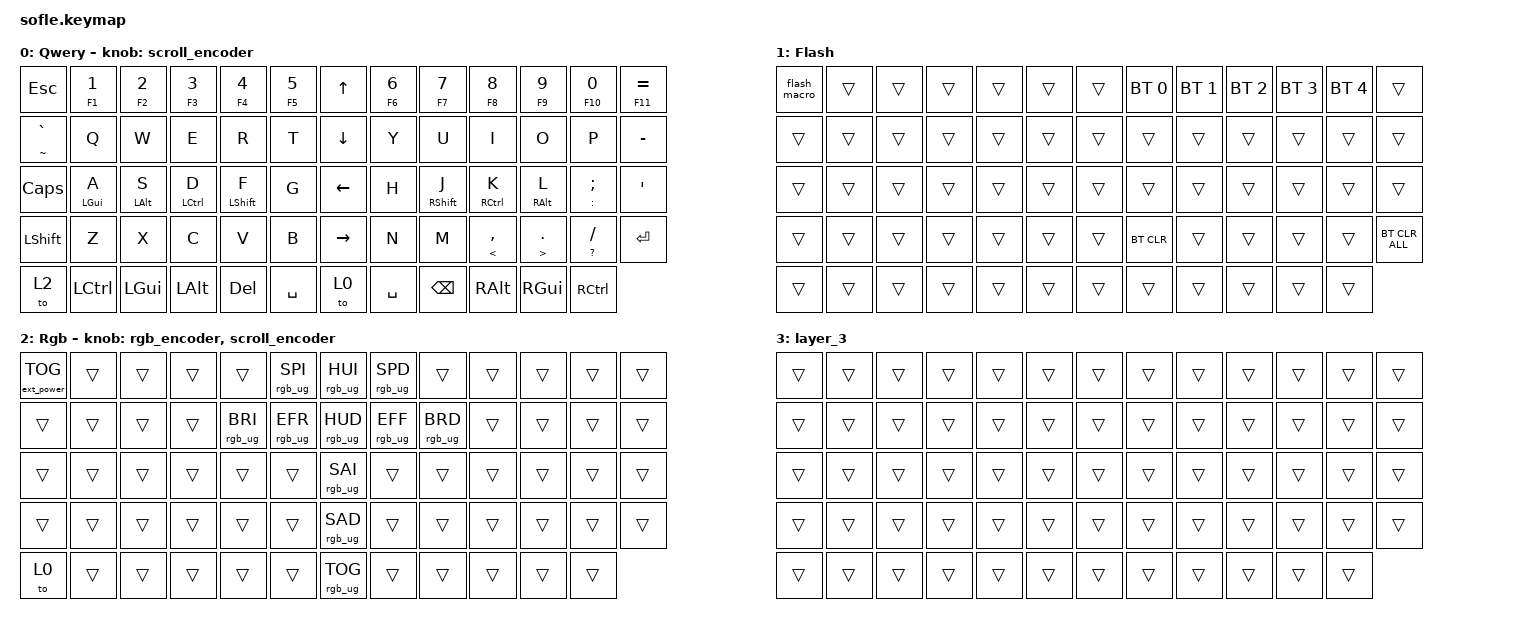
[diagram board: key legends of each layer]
#define ZMK_POINTING_DEFAULT_MOVE_VAL 1200  // 600
#define ZMK_POINTING_DEFAULT_SCRL_VAL 25   // 10

#include <input/processors.dtsi>
#include <zephyr/dt-bindings/input/input-event-codes.h>
#include <behaviors.dtsi>
#include <dt-bindings/zmk/bt.h>
#include <dt-bindings/zmk/ext_power.h>
#include <dt-bindings/zmk/keys.h>
#include <dt-bindings/zmk/pointing.h>
#include <dt-bindings/zmk/rgb.h>

&mmv_input_listener { input-processors = <&zip_xy_scaler 2 1>; };

&msc_input_listener { input-processors = <&zip_scroll_scaler 2 1>; };

&msc {
    acceleration-exponent = <1>;      // 0
    time-to-max-speed-ms = <100>;       // 300
    delay-ms = <0>;                   // 0
};

&mmv {
    time-to-max-speed-ms = <500>;
    acceleration-exponent = <1>;
    trigger-period-ms = <16>;
};

/ {
    macros {
        flash_macro: flash_macro {
            compatible = "zmk,behavior-macro";
            #binding-cells = <0>;
            bindings = <&bootloader>;
        };
    };

    behaviors {
        hm: homerow_mods {
            compatible = "zmk,behavior-hold-tap";
            label = "HOMEROW_MODS";
            bindings = <&kp>, <&kp>;

            #binding-cells = <2>;
            tapping-term-ms = <200>;
            quick-tap-ms = <180>;
            flavor = "tap-preferred";
        };

        ltq: ltq {
            compatible = "zmk,behavior-hold-tap";
            label = "LTQ";
            bindings = <&mo>, <&kp>;

            #binding-cells = <2>;
            tapping-term-ms = <200>;
            quick-tap-ms = <180>;
        };

        as: auto_shift {
            compatible = "zmk,behavior-hold-tap";
            label = "AUTO_SHIFT";
            bindings = <&kp>, <&kp>;

            #binding-cells = <2>;
            tapping-term-ms = <135>;
            quick-tap-ms = <0>;
        };

        rgb_encoder: rgb_encoder {
            compatible = "zmk,behavior-sensor-rotate";
            label = "RGB_ENCODER";
            #sensor-binding-cells = <0>;
            bindings = <&rgb_ug RGB_BRI>, <&rgb_ug RGB_BRD>;
        };

        scroll_encoder: scroll_encoder {
            compatible = "zmk,behavior-sensor-rotate";
            #sensor-binding-cells = <0>;
            bindings = <&msc SCRL_UP>, <&msc SCRL_DOWN>;

            tap-ms = <100>;
        };
    };

    combos {
        compatible = "zmk,combos";

        esc {
            bindings = <&kp ESCAPE>;
            key-positions = <13 14>;
        };

        left_bkt {
            bindings = <&kp LEFT_BRACKET>;
            key-positions = <17 16>;
        };

        right_bkt {
            bindings = <&kp RIGHT_BRACKET>;
            key-positions = <21 22>;
        };

        left_par {
            bindings = <&kp LEFT_PARENTHESIS>;
            key-positions = <29 30>;
        };

        right_par {
            bindings = <&kp RIGHT_PARENTHESIS>;
            key-positions = <34 35>;
        };

        left_brace {
            bindings = <&kp LEFT_BRACE>;
            key-positions = <42 43>;
        };

        right_brace {
            bindings = <&kp RIGHT_BRACE>;
            key-positions = <47 48>;
        };

        bac {
            bindings = <&kp BACKSLASH>;
            key-positions = <18 20>;
        };

        pipe {
            bindings = <&kp PIPE>;
            key-positions = <31 33>;
        };
    };

    keymap {
        compatible = "zmk,keymap";

        Qwery {
            bindings = <
&kp ESCAPE       &as F1 NUMBER_1  &as F2 N2       &as F3 N3           &as F4 N4         &as F5 N5    &kp UP_ARROW     &as F6 N6  &as F7 N7          &as F8 N8            &as F9 N9                &as F10 N0           &as F11 EQUAL
&as TILDE GRAVE  &kp Q            &kp W           &kp E               &kp R             &kp T        &kp DOWN_ARROW   &kp Y      &kp U              &kp I                &kp O                    &kp P                &kp MINUS
&kp CAPSLOCK     &hm LEFT_GUI A   &hm LEFT_ALT S  &hm LEFT_CONTROL D  &hm LEFT_SHIFT F  &kp G        &kp LEFT_ARROW   &kp H      &hm RIGHT_SHIFT J  &hm RIGHT_CONTROL K  &hm RIGHT_ALT L          &as COLON SEMICOLON  &kp SINGLE_QUOTE
&kp LSHFT        &kp Z            &kp X           &kp C               &kp V             &kp B        &kp RIGHT_ARROW  &kp N      &kp M              &as LESS_THAN COMMA  &as GREATER_THAN PERIOD  &as QUESTION SLASH   &kp RETURN
&to 2            &kp LCTRL        &kp LEFT_GUI    &kp LEFT_ALT        &kp DELETE        &kp SPACE    &to 0            &kp SPACE  &kp BACKSPACE      &kp RIGHT_ALT        &kp RIGHT_GUI            &kp RCTRL
            >;

            sensor-bindings = <&scroll_encoder>;
            display-name = "Qwery";
        };

        Flash {
            bindings = <
&flash_macro  &trans  &trans  &trans  &trans  &trans    &trans  &bt BT_SEL 0  &bt BT_SEL 1  &bt BT_SEL 2  &bt BT_SEL 3  &bt BT_SEL 4  &trans
&trans        &trans  &trans  &trans  &trans  &trans    &trans  &trans        &trans        &trans        &trans        &trans        &trans
&trans        &trans  &trans  &trans  &trans  &trans    &trans  &trans        &trans        &trans        &trans        &trans        &trans
&trans        &trans  &trans  &trans  &trans  &trans    &trans  &bt BT_CLR    &trans        &trans        &trans        &trans        &bt BT_CLR_ALL
&trans        &trans  &trans  &trans  &trans  &trans    &trans  &trans        &trans        &trans        &trans        &trans
            >;

            display-name = "Flash";
        };

        Rgb {
            bindings = <
&ext_power EP_TOG  &trans  &trans  &trans  &trans           &rgb_ug RGB_SPI    &rgb_ug RGB_HUI  &rgb_ug RGB_SPD  &trans           &trans  &trans  &trans  &trans
&trans             &trans  &trans  &trans  &rgb_ug RGB_BRI  &rgb_ug RGB_EFR    &rgb_ug RGB_HUD  &rgb_ug RGB_EFF  &rgb_ug RGB_BRD  &trans  &trans  &trans  &trans
&trans             &trans  &trans  &trans  &trans           &trans             &rgb_ug RGB_SAI  &trans           &trans           &trans  &trans  &trans  &trans
&trans             &trans  &trans  &trans  &trans           &trans             &rgb_ug RGB_SAD  &trans           &trans           &trans  &trans  &trans  &trans
&to 0              &trans  &trans  &trans  &trans           &trans             &rgb_ug RGB_TOG  &trans           &trans           &trans  &trans  &trans
            >;

            label = "Rgb";
            sensor-bindings = <&rgb_encoder &scroll_encoder>;
        };

        layer_3 {
            bindings = <
&trans  &trans  &trans  &trans  &trans  &trans    &trans  &trans  &trans  &trans  &trans  &trans  &trans
&trans  &trans  &trans  &trans  &trans  &trans    &trans  &trans  &trans  &trans  &trans  &trans  &trans
&trans  &trans  &trans  &trans  &trans  &trans    &trans  &trans  &trans  &trans  &trans  &trans  &trans
&trans  &trans  &trans  &trans  &trans  &trans    &trans  &trans  &trans  &trans  &trans  &trans  &trans
&trans  &trans  &trans  &trans  &trans  &trans    &trans  &trans  &trans  &trans  &trans  &trans
            >;
        };
    };

    conditional_layers {
        compatible = "zmk,conditional-layers";

        Flash {
            if-layers = <1 1>;
            then-layer = <1>;
        };
    };
};
